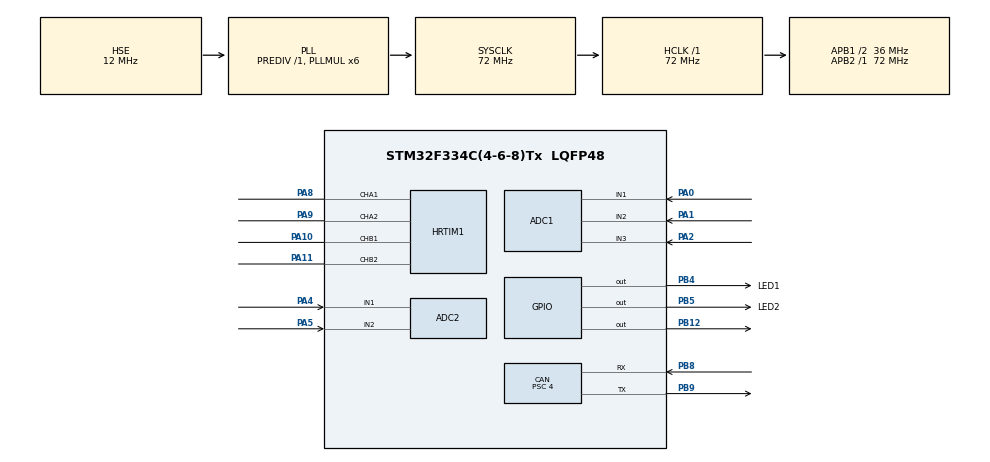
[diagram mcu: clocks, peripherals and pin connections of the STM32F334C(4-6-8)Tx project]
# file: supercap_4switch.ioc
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ADC1.Channel-0\#ChannelRegularConversion=ADC_CHANNEL_1
ADC1.Channel-1\#ChannelRegularConversion=ADC_CHANNEL_3
ADC1.ClockPrescaler=ADC_CLOCK_SYNC_PCLK_DIV2
ADC1.ContinuousConvMode=DISABLE
ADC1.DMAContinuousRequests=ENABLE
ADC1.EOCSelection=ADC_EOC_SEQ_CONV
ADC1.EnableInjectedConversion=DISABLE
ADC1.ExternalTrigConv=ADC_EXTERNALTRIGCONVHRTIM_TRG1
ADC1.NbrOfConversion=2
ADC1.NbrOfConversionFlag=1
ADC1.Offset-0\#ChannelRegularConversion=0
ADC1.Offset-1\#ChannelRegularConversion=0
ADC1.OffsetNumber-0\#ChannelRegularConversion=ADC_OFFSET_NONE
ADC1.OffsetNumber-1\#ChannelRegularConversion=ADC_OFFSET_NONE
ADC1.Rank-0\#ChannelRegularConversion=1
ADC1.Rank-1\#ChannelRegularConversion=2
ADC1.SamplingTime-0\#ChannelRegularConversion=ADC_SAMPLETIME_4CYCLES_5
ADC1.SamplingTime-1\#ChannelRegularConversion=ADC_SAMPLETIME_4CYCLES_5
ADC1.SingleDiff-0\#ChannelRegularConversion=ADC_DIFFERENTIAL_ENDED
ADC1.master=1
ADC2.Channel-0\#ChannelRegularConversion=ADC_CHANNEL_1
ADC2.Channel-1\#ChannelRegularConversion=ADC_CHANNEL_2
ADC2.ClockPrescaler=ADC_CLOCK_SYNC_PCLK_DIV2
ADC2.ContinuousConvMode=DISABLE
ADC2.DMAContinuousRequests=ENABLE
ADC2.EOCSelection=ADC_EOC_SEQ_CONV
ADC2.EnableInjectedConversion=DISABLE
ADC2.ExternalTrigConv=ADC_EXTERNALTRIGCONVHRTIM_TRG1
ADC2.NbrOfConversion=2
ADC2.NbrOfConversionFlag=1
ADC2.Offset-0\#ChannelRegularConversion=0
ADC2.Offset-1\#ChannelRegularConversion=0
ADC2.OffsetNumber-0\#ChannelRegularConversion=ADC_OFFSET_NONE
ADC2.OffsetNumber-1\#ChannelRegularConversion=ADC_OFFSET_NONE
ADC2.Rank-0\#ChannelRegularConversion=1
ADC2.Rank-1\#ChannelRegularConversion=2
ADC2.SamplingTime-0\#ChannelRegularConversion=ADC_SAMPLETIME_4CYCLES_5
ADC2.SamplingTime-1\#ChannelRegularConversion=ADC_SAMPLETIME_4CYCLES_5
ADC2.SubFamily=STM32F334x8
CAN.ABOM=ENABLE
CAN.BS1=CAN_BS1_5TQ
CAN.BS2=CAN_BS2_3TQ
CAN.CalculateBaudRate=1000000
CAN.CalculateTimeBit=1000
CAN.CalculateTimeQuantum=111.11111111111111
CAN.NART=ENABLE
CAN.Prescaler=4
CAN.TTCM=DISABLE
CAN.TXFP=ENABLE
Dma.ADC1.1.Direction=DMA_PERIPH_TO_MEMORY
Dma.ADC1.1.Instance=DMA1_Channel1
Dma.ADC1.1.MemDataAlignment=DMA_MDATAALIGN_HALFWORD
Dma.ADC1.1.MemInc=DMA_MINC_ENABLE
Dma.ADC1.1.Mode=DMA_CIRCULAR
Dma.ADC1.1.PeriphDataAlignment=DMA_PDATAALIGN_HALFWORD
Dma.ADC1.1.PeriphInc=DMA_PINC_DISABLE
Dma.ADC1.1.Priority=DMA_PRIORITY_LOW
Dma.ADC2.0.Direction=DMA_PERIPH_TO_MEMORY
Dma.ADC2.0.Instance=DMA1_Channel2
Dma.ADC2.0.MemDataAlignment=DMA_MDATAALIGN_HALFWORD
Dma.ADC2.0.MemInc=DMA_MINC_ENABLE
Dma.ADC2.0.Mode=DMA_CIRCULAR
Dma.ADC2.0.PeriphDataAlignment=DMA_PDATAALIGN_HALFWORD
Dma.ADC2.0.PeriphInc=DMA_PINC_DISABLE
Dma.ADC2.0.Priority=DMA_PRIORITY_LOW
Dma.Request0=ADC2
Dma.Request1=ADC1
HRTIM1.ADCTrigger1_Source1=HRTIM_ADCTRIGGEREVENT13_TIMERA_CMP2
HRTIM1.ADCTrigger_Id1=HRTIM_ADCTRIGGER_1
HRTIM1.CompareUnit1-MasterTimer=HRTIM_COMPAREUNIT_1
HRTIM1.CompareUnit1-Output_TA1TA2=__NULL
HRTIM1.CompareUnit2-MasterTimer=HRTIM_COMPAREUNIT_2
HRTIM1.CompareUnit2-Output_TA1TA2=HRTIM_COMPAREUNIT_2
HRTIM1.CompareUnit3-MasterTimer=HRTIM_COMPAREUNIT_3
HRTIM1.CompareUnit4-MasterTimer=HRTIM_COMPAREUNIT_4
HRTIM1.CompareValue1-MasterTimer=100
HRTIM1.CompareValue2-MasterTimer=11520
HRTIM1.CompareValue2-Output_TA1TA2=12800
HRTIM1.CompareValue3-MasterTimer=100
HRTIM1.CompareValue4-MasterTimer=11520
HRTIM1.DeadTimeInsertion-Output_TA1TA2=HRTIM_TIMDEADTIMEINSERTION_ENABLED
HRTIM1.DeadTimeInsertion-Output_TB1TB2=HRTIM_TIMDEADTIMEINSERTION_ENABLED
HRTIM1.Event_EEV1=__NULL
HRTIM1.FallingValue-Output_TA1TA2=10
HRTIM1.FallingValue-Output_TB1TB2=10
HRTIM1.NumberADCTriggerSource1=1
HRTIM1.NumberInterruptRequests-Output_TA1TA2=0
HRTIM1.NumberResetSource1-Output_TA1TA2=1
HRTIM1.NumberResetSource1-Output_TB1TB2=1
HRTIM1.NumberResetTrigger-Output_TA1TA2=1
HRTIM1.NumberSetSource1-Output_TA1TA2=1
HRTIM1.NumberSetSource1-Output_TB1TB2=1
HRTIM1.NumberUpdateTrigger-Output_TA1TA2=0
HRTIM1.ORingUpdateSource_ADCTrigger1=HRTIM_ADCTRIGGERUPDATE_TIMER_A
HRTIM1.Periode_MASTER=25600
HRTIM1.Periode_TA=25600
HRTIM1.Periode_TB=25600
HRTIM1.PreloadEnable-MasterTimer=HRTIM_PRELOAD_ENABLED
HRTIM1.PreloadEnable-Output_TA1TA2=HRTIM_PRELOAD_ENABLED
HRTIM1.PreloadEnable-Output_TB1TB2=HRTIM_PRELOAD_ENABLED
HRTIM1.PrescalerDead-Output_TA1TA2=HRTIM_TIMDEADTIME_PRESCALERRATIO_MUL4
HRTIM1.PrescalerDead-Output_TB1TB2=HRTIM_TIMDEADTIME_PRESCALERRATIO_MUL4
HRTIM1.RepetitionUpdate-MasterTimer=HRTIM_UPDATEONREPETITION_ENABLED
HRTIM1.RepetitionUpdate-Output_TA1TA2=HRTIM_UPDATEONREPETITION_ENABLED
HRTIM1.RepetitionUpdate-Output_TB1TB2=HRTIM_UPDATEONREPETITION_ENABLED
HRTIM1.ResetOutput1_Source1-Output_TA1TA2=HRTIM_OUTPUTRESET_MASTERCMP2
HRTIM1.ResetOutput1_Source1-Output_TB1TB2=HRTIM_OUTPUTRESET_MASTERCMP4
HRTIM1.ResetTrigger1-Output_TA1TA2=HRTIM_TIMRESETTRIGGER_MASTER_PER
HRTIM1.ResetUpdate-Output_TA1TA2=HRTIM_TIMUPDATEONRESET_DISABLED
HRTIM1.RisingValue-Output_TA1TA2=10
HRTIM1.RisingValue-Output_TB1TB2=10
HRTIM1.SetOutput1_Source1-Output_TA1TA2=HRTIM_OUTPUTSET_MASTERCMP1
HRTIM1.SetOutput1_Source1-Output_TB1TB2=HRTIM_OUTPUTSET_MASTERCMP3
Mcu.Family=STM32F3
Mcu.Name=STM32F334C(4-6-8)Tx
Mcu.Package=LQFP48
NVIC.CAN_RX0_IRQn=true\:0\:0\:false\:false\:true\:true\:true\:true
NVIC.CAN_RX1_IRQn=true\:0\:0\:false\:false\:true\:true\:true\:true
NVIC.DMA1_Channel1_IRQn=true\:0\:0\:false\:false\:true\:false\:true\:true
NVIC.DMA1_Channel2_IRQn=true\:0\:0\:false\:false\:true\:false\:true\:true
NVIC.PriorityGroup=NVIC_PRIORITYGROUP_4
NVIC.TIM6_DAC1_IRQn=true\:0\:0\:false\:false\:true\:true\:true\:true
NVIC.TIM7_DAC2_IRQn=true\:0\:0\:false\:false\:true\:true\:true\:true
PA0.Mode=IN1-Differential
PA0.Signal=ADC1_IN1
PA1.Mode=IN1-Differential
PA1.Signal=ADC1_IN2
PA10.Mode=Output_TB1TB2
PA10.Signal=HRTIM1_CHB1
PA11.Mode=Output_TB1TB2
PA11.Signal=HRTIM1_CHB2
PA13.Mode=Serial_Wire
PA13.Signal=SYS_JTMS-SWDIO
PA14.Mode=Serial_Wire
PA14.Signal=SYS_JTCK-SWCLK
PA2.Mode=IN3-Single-Ended
PA2.Signal=ADC1_IN3
PA4.Mode=IN1-Single-Ended
PA4.Signal=ADC2_IN1
PA5.Mode=IN2-Single-Ended
PA5.Signal=ADC2_IN2
PA8.Mode=Output_TA1TA2
PA8.Signal=HRTIM1_CHA1
PA9.Mode=Output_TA1TA2
PA9.Signal=HRTIM1_CHA2
PB12.PinState=GPIO_PIN_SET
PB12.Signal=GPIO_Output
PB4.GPIO_Label=LED1
PB4.GPIO_ModeDefaultOutputPP=GPIO_MODE_OUTPUT_OD
PB4.GPIO_PuPd=GPIO_NOPULL
PB4.PinState=GPIO_PIN_SET
PB4.Signal=GPIO_Output
PB5.GPIO_Label=LED2
PB5.GPIO_ModeDefaultOutputPP=GPIO_MODE_OUTPUT_OD
PB5.GPIO_PuPd=GPIO_NOPULL
PB5.PinState=GPIO_PIN_SET
PB5.Signal=GPIO_Output
PB8.Mode=CAN_Activate
PB8.Signal=CAN_RX
PB9.Mode=CAN_Activate
PB9.Signal=CAN_TX
PF0\ /\ OSC_IN.Mode=HSE-External-Oscillator
PF0\ /\ OSC_IN.Signal=RCC_OSC_IN
PF1\ /\ OSC_OUT.Mode=HSE-External-Oscillator
PF1\ /\ OSC_OUT.Signal=RCC_OSC_OUT
ProjectManager.HeapSize=0x200
ProjectManager.StackSize=0x400
ProjectManager.TargetToolchain=MDK-ARM V5.27
RCC.AHBFreq_Value=72000000
RCC.APB1CLKDivider=RCC_HCLK_DIV2
RCC.APB1Freq_Value=36000000
RCC.APB1TimFreq_Value=72000000
RCC.APB2Freq_Value=72000000
RCC.APB2TimFreq_Value=72000000
RCC.CortexFreq_Value=72000000
RCC.HCLKFreq_Value=72000000
RCC.HRTIMSelection=RCC_HRTIM1CLK_PLLCLK
RCC.HSE_VALUE=12000000
RCC.HSI_VALUE=8000000
RCC.LSE_VALUE=32768
RCC.PLLMUL=RCC_PLL_MUL6
RCC.PLLSourceVirtual=RCC_PLLSOURCE_HSE
RCC.SYSCLKFreq_VALUE=72000000
RCC.SYSCLKSourceVirtual=RCC_SYSCLKSOURCE_PLLCLK
TIM6.AutoReloadPreload=TIM_AUTORELOAD_PRELOAD_ENABLE
TIM6.Period=999
TIM6.Prescaler=7199
TIM7.AutoReloadPreload=TIM_AUTORELOAD_PRELOAD_ENABLE
TIM7.Period=49
TIM7.Prescaler=71
VP_HRTIM1_VS_hrtimMasterTimerNoOutput.Mode=MasterTimer
VP_TIM6_VS_ClockSourceINT.Mode=Enable_Timer
VP_TIM7_VS_ClockSourceINT.Mode=Enable_Timer
board=custom

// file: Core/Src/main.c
/* USER CODE BEGIN Header */
/**
  ******************************************************************************
  * @file           : main.c
  * @brief          : Main program body
  ******************************************************************************
  * @attention
  *
  * Copyright (c) 2023 STMicroelectronics.
  * All rights reserved.
  *
  * This software is licensed under terms that can be found in the LICENSE file
  * in the root directory of this software component.
  * If no LICENSE file comes with this software, it is provided AS-IS.
  *
  ******************************************************************************
  */
/* USER CODE END Header */
#include "main.h"
#include "adc.h"
#include "can.h"
#include "dma.h"
#include "hrtim.h"
#include "tim.h"
#include "gpio.h"

/* USER CODE BEGIN Includes */
#include "stdint.h"
#include "pid.h"
/* USER CODE END Includes */

/* USER CODE BEGIN PD */
#define LDO_VOL 3.308f
/* USER CODE END PD */

/* USER CODE BEGIN PV */
float duty;
float buck_duty;
float boost_duty;
uint16_t adc1_buf[6];
uint16_t adc2_buf[6];
float cap_voltage;
float cap_current;
float bat_voltage;
float bat_current;
PID cap_vol_h;
PID cap_vol_l;
PID inp_power;
PID cap_cur;
float kf = 0.9;//前馈参数
float power_limit = 40;//初始功率限制
float power_ref = 5;//功率参考
uint8_t isPWD = 1;//停止供电标识符
uint8_t isCAP_START = 0;//电容是否高于最低电压
uint16_t PWUcnt = 0;//开启供电计数
uint8_t bsp_can_rxbuf[8];
float power_target;
//uint8_t cancnt=0;
/* USER CODE END PV */

void SystemClock_Config(void);

int main(void)
{

  /* MCU Configuration--------------------------------------------------------*/

  /* Reset of all peripherals, Initializes the Flash interface and the Systick. */
  HAL_Init();

  /* Configure the system clock */
  SystemClock_Config();

  /* Initialize all configured peripherals */
  MX_GPIO_Init();
  MX_DMA_Init();
  MX_HRTIM1_Init();
  MX_ADC1_Init();
  MX_ADC2_Init();
  MX_CAN_Init();
  MX_TIM6_Init();
  MX_TIM7_Init();
  /* USER CODE BEGIN 2 */
	while(HAL_OK != (HAL_ADCEx_Calibration_Start(&hadc1,ADC_SINGLE_ENDED)));
	while(HAL_OK != (HAL_ADCEx_Calibration_Start(&hadc1,ADC_DIFFERENTIAL_ENDED)));
	while(HAL_OK != (HAL_ADCEx_Calibration_Start(&hadc2,ADC_SINGLE_ENDED)));
	HAL_ADC_Start_DMA(&hadc1,(uint32_t*)adc1_buf,6);
	HAL_ADC_Start_DMA(&hadc2,(uint32_t*)adc2_buf,6);
	HAL_CAN_Start(&hcan);
  HAL_CAN_ActivateNotification(&hcan, CAN_IT_RX_FIFO0_MSG_PENDING);
  HAL_CAN_ActivateNotification(&hcan, CAN_IT_RX_FIFO1_MSG_PENDING);
	pid_init(&cap_vol_h,PID_DELTA, 0.5,0.05,0,0,10,-18);
	pid_init(&cap_vol_l,PID_DELTA, 0.5,0.05,0,0,10,-18);
	pid_init(&inp_power,PID_DELTA, 0.04,0.008,0,0,10,-18);
	pid_init(&cap_cur,PID_DELTA, 0.005,0.0005,0,0,1.7,0);
	cap_vol_h.ref = 26.0;
	cap_vol_l.ref = 8.0;
	inp_power.ref = 5.0;
	duty = 0.9;
	HAL_HRTIM_WaveformCounterStart(&hhrtim1, HRTIM_TIMERID_MASTER);
	HAL_HRTIM_WaveformCounterStart(&hhrtim1, HRTIM_TIMERID_TIMER_A);
	HAL_HRTIM_WaveformCounterStart(&hhrtim1, HRTIM_TIMERID_TIMER_B);
	//HAL_HRTIM_WaveformOutputStart(&hhrtim1, HRTIM_OUTPUT_TA1|HRTIM_OUTPUT_TA2);
	//HAL_HRTIM_WaveformOutputStart(&hhrtim1, HRTIM_OUTPUT_TB1|HRTIM_OUTPUT_TB2);
	HAL_TIM_Base_Start_IT(&htim6);
	HAL_TIM_Base_Start_IT(&htim7);

  /* USER CODE END 2 */

  /* Infinite loop */
  while (1)
  {

  }
}

void SystemClock_Config(void)
{
  RCC_OscInitTypeDef RCC_OscInitStruct = {0};
  RCC_ClkInitTypeDef RCC_ClkInitStruct = {0};
  RCC_PeriphCLKInitTypeDef PeriphClkInit = {0};

  /** Initializes the RCC Oscillators according to the specified parameters
  * in the RCC_OscInitTypeDef structure.
  */
  RCC_OscInitStruct.OscillatorType = RCC_OSCILLATORTYPE_HSE;
  RCC_OscInitStruct.HSEState = RCC_HSE_ON;
  RCC_OscInitStruct.HSEPredivValue = RCC_HSE_PREDIV_DIV1;
  RCC_OscInitStruct.HSIState = RCC_HSI_ON;
  RCC_OscInitStruct.PLL.PLLState = RCC_PLL_ON;
  RCC_OscInitStruct.PLL.PLLSource = RCC_PLLSOURCE_HSE;
  RCC_OscInitStruct.PLL.PLLMUL = RCC_PLL_MUL6;
  if (HAL_RCC_OscConfig(&RCC_OscInitStruct) != HAL_OK)
  {
    Error_Handler();
  }

  /** Initializes the CPU, AHB and APB buses clocks
  */
  RCC_ClkInitStruct.ClockType = RCC_CLOCKTYPE_HCLK|RCC_CLOCKTYPE_SYSCLK
                              |RCC_CLOCKTYPE_PCLK1|RCC_CLOCKTYPE_PCLK2;
  RCC_ClkInitStruct.SYSCLKSource = RCC_SYSCLKSOURCE_PLLCLK;
  RCC_ClkInitStruct.AHBCLKDivider = RCC_SYSCLK_DIV1;
  RCC_ClkInitStruct.APB1CLKDivider = RCC_HCLK_DIV2;
  RCC_ClkInitStruct.APB2CLKDivider = RCC_HCLK_DIV1;

  if (HAL_RCC_ClockConfig(&RCC_ClkInitStruct, FLASH_LATENCY_2) != HAL_OK)
  {
    Error_Handler();
  }
  PeriphClkInit.PeriphClockSelection = RCC_PERIPHCLK_HRTIM1;
  PeriphClkInit.Hrtim1ClockSelection = RCC_HRTIM1CLK_PLLCLK;
  if (HAL_RCCEx_PeriphCLKConfig(&PeriphClkInit) != HAL_OK)
  {
    Error_Handler();
  }
}

/* USER CODE BEGIN 4 */
void BSP_CAN_Send(uint8_t *data,uint32_t len)
{
    uint32_t tx_mailbox;
    CAN_TxHeaderTypeDef txconf;
    txconf.StdId = 0x211;
    txconf.IDE = CAN_ID_STD;
    txconf.RTR = CAN_RTR_DATA;
    txconf.DLC = 8;
    /*uint32_t can_tx_start_time = HAL_GetTick();
    while (HAL_CAN_GetTxMailboxesFreeLevel(&hcan) == 0) {
        // HAL_CAN_AbortTxRequest
        can_tx_now_time = HAL_GetTick();
        // 2ms还没有发送出去，放弃发送
        if (can_tx_now_time > can_tx_start_time + 1) {
            HAL_CAN_AbortTxRequest(&hcan, CAN_TX_MAILBOX0 | CAN_TX_MAILBOX1 | CAN_TX_MAILBOX2);
            __NOP();
            break;
        }
    }*/
    HAL_CAN_AddTxMessage(&hcan, &txconf, data, &tx_mailbox);
}
void SendPowerManagementData() {
    uint16_t data[4];
    data[0] = (uint16_t)(bat_voltage * 100.f);
    data[1] = (uint16_t)(cap_voltage * 100.f);
    data[2] = (uint16_t)(bat_current * 100.f);
    data[3] = (uint16_t)(power_limit * 100.f);
    BSP_CAN_Send((uint8_t *)data, 8);  // 0x211
		HAL_GPIO_TogglePin(LED2_GPIO_Port, LED2_Pin);
}// 10hz

void HAL_TIM_PeriodElapsedCallback(TIM_HandleTypeDef *htim)
{
	if(htim == &htim7)
	{
		if(bat_voltage < 18.f || bat_voltage > 30.f)//掉电及过压保护
		{
			//HAL_TIM_PWM_Stop(&htim3,TIM_CHANNEL_4);//关闭电荷泵
			//HAL_GPIO_WritePin(GPIOB,GPIO_PIN_0,GPIO_PIN_RESET);//关闭输出
			HAL_HRTIM_WaveformOutputStop(&hhrtim1, HRTIM_OUTPUT_TA1|HRTIM_OUTPUT_TA2);//关闭半桥
			HAL_HRTIM_WaveformOutputStop(&hhrtim1, HRTIM_OUTPUT_TB1|HRTIM_OUTPUT_TB2);
			isPWD = 1;
			PWUcnt = 0;
		}
		else if(bat_voltage < 29.f && bat_voltage > 20.f)
		{
			//重置pid和缓启动
			if(isPWD)
			{
				PWUcnt++;
				if(PWUcnt > 1000)
				{
					power_ref = 5;
					pid_reset(&inp_power);
					pid_reset(&cap_vol_h);
					pid_reset(&cap_vol_l);
					pid_reset(&cap_cur);
					float output_preload = kf * cap_voltage/bat_voltage;
					//cap_vol_h.output = output_preload;
					//cap_vol_l.output = output_preload;
					cap_cur.output = output_preload;
					//HAL_TIM_PWM_Start(&htim3,TIM_CHANNEL_4);//开启电荷泵
					//HAL_GPIO_WritePin(GPIOB,GPIO_PIN_0,GPIO_PIN_SET);//开启输出
					HAL_HRTIM_WaveformOutputStart(&hhrtim1, HRTIM_OUTPUT_TA1|HRTIM_OUTPUT_TA2);//开启半桥
					HAL_HRTIM_WaveformOutputStart(&hhrtim1, HRTIM_OUTPUT_TB1|HRTIM_OUTPUT_TB2);
					isPWD = 0;
					PWUcnt = 0;
					isCAP_START = 0;
				}
			}
			if(cap_voltage>10.0f)
				isCAP_START = 1;
		}
		if(power_ref < power_limit)
			power_ref += 0.01f;
		else if(power_ref > power_limit)
			power_ref = power_limit;//功率缓启动

		cap_voltage = (adc2_buf[0]+adc2_buf[2]+adc2_buf[4])*LDO_VOL*16.f/4095.f/3.f;//电容电压
		bat_voltage = (adc2_buf[1]+adc2_buf[3]+adc2_buf[5])*LDO_VOL*16.f/4095.f/3.f;//电源电压
		bat_current = (adc1_buf[1]+adc1_buf[3]+adc1_buf[5])*LDO_VOL/4095.f*10.f/3.f ;//输入电流
		cap_current = (adc1_buf[0]+adc1_buf[2]+adc1_buf[4]-2047*3)*LDO_VOL/4095.f*20.f/3.f;//电容电流

		pid_calculate(&cap_vol_h, cap_voltage);//计算电容高压电压环
		pid_calculate(&cap_vol_l, cap_voltage);//计算电容低压电压环
		inp_power.ref = power_ref;
		//inp_power.ref = 20;
		pid_calculate(&inp_power, bat_current * bat_voltage);//计算功率环pid
		float current_ref = inp_power.output;
		//三环并联
		if(current_ref > cap_vol_h.output)
		{
			current_ref = cap_vol_h.output;
			inp_power.output = current_ref;
		}
		else if(isCAP_START && (current_ref < cap_vol_l.output))
		{
			current_ref = cap_vol_l.output;
			inp_power.output = current_ref;
		}
		else
		{
			cap_vol_h.output = current_ref;
			cap_vol_l.output = current_ref;
		}
		//current_ref = 0.2;
		cap_cur.ref = current_ref;
		pid_calculate(&cap_cur, cap_current);//计算低侧电流环pid
		duty = cap_cur.output;//（广义）占空比为高侧电流环输出
		//广义占空比转换为buck和boost占空比
		if(duty>1.5f)
			duty = 1.5f;
		else if(duty<0.2f)
			duty = 0.2f;
		if(duty>0.9f)
		{
			buck_duty = 0.9f;
			boost_duty = 0.81f / duty;
		}
		else
		{
			buck_duty = duty;
			boost_duty = 0.9f;
		}

		//设定HRTIM占空比
		__HAL_HRTIM_SETCOMPARE(&hhrtim1, HRTIM_TIMERINDEX_MASTER, HRTIM_COMPAREUNIT_1, 12800 - 12800 * buck_duty);
		__HAL_HRTIM_SETCOMPARE(&hhrtim1, HRTIM_TIMERINDEX_MASTER, HRTIM_COMPAREUNIT_2, 12800 + 12800 * buck_duty);
		__HAL_HRTIM_SETCOMPARE(&hhrtim1, HRTIM_TIMERINDEX_MASTER, HRTIM_COMPAREUNIT_3, 12800 - 12800 * boost_duty);
		__HAL_HRTIM_SETCOMPARE(&hhrtim1, HRTIM_TIMERINDEX_MASTER, HRTIM_COMPAREUNIT_4, 12800 + 12800 * boost_duty);
	}
	else if(htim == &htim6)
	{
		SendPowerManagementData();
	}
}

void HAL_CAN_RxFifo0MsgPendingCallback(CAN_HandleTypeDef *hcan)
{
	CAN_RxHeaderTypeDef rxconf;
	HAL_CAN_GetRxMessage(hcan, CAN_RX_FIFO0, &rxconf, bsp_can_rxbuf);
	if(rxconf.StdId == 0x210)
	{
    power_target = ((float)(bsp_can_rxbuf[1] + (((uint16_t)bsp_can_rxbuf[0]) << 8))) / 100;
    if (power_target >= 20 && power_target <= 200) {
        power_limit = power_target;
    } else if (power_target < 20) {
        power_limit = 20;
    } else if (power_target > 200) {
        power_limit = 200;
    }
		HAL_GPIO_TogglePin(LED1_GPIO_Port, LED1_Pin);
	}
}

void HAL_CAN_RxFifo1MsgPendingCallback(CAN_HandleTypeDef *hcan) {
	CAN_RxHeaderTypeDef rxconf;
	HAL_CAN_GetRxMessage(hcan, CAN_RX_FIFO1, &rxconf, bsp_can_rxbuf);
	if(rxconf.StdId == 0x210)
	{
    power_target = ((float)(bsp_can_rxbuf[1] + (((uint16_t)bsp_can_rxbuf[0]) << 8))) / 100;
    if (power_target >= 20 && power_target <= 200) {
        power_limit = power_target;
    } else if (power_target < 20) {
        power_limit = 20;
    } else if (power_target > 200) {
        power_limit = 200;
    }
		HAL_GPIO_TogglePin(LED1_GPIO_Port, LED1_Pin);
	}
}
/* USER CODE END 4 */

void Error_Handler(void)
{
  __disable_irq();
  while (1)
  {
  }
}
